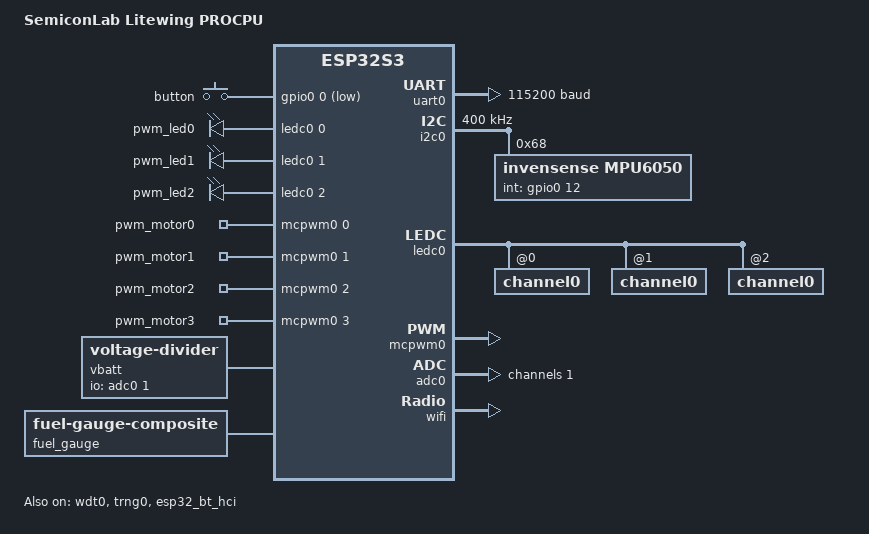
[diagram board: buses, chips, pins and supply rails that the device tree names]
/*
 * Copyright (c) 2026 Sahaj Sarup
 *
 * SPDX-License-Identifier: Apache-2.0
 */
/dts-v1/;

#include <zephyr/dt-bindings/input/input-event-codes.h>
#include <zephyr/dt-bindings/pwm/pwm.h>
#include <espressif/esp32s3/esp32s3.dtsi>
#include <espressif/partitions_0x0_amp_8M.dtsi>
#include <zephyr/dt-bindings/battery/battery.h>
#include "litewing-pinctrl.dtsi"

/ {
	model = "SemiconLab Litewing PROCPU";
	compatible = "espressif,esp32s3";

	aliases {
		fuel-gauge0 = &fuel_gauge;
		i2c-0 = &i2c0;
		pwm-led0 = &pwm_led0;
		pwm-led1 = &pwm_led1;
		pwm-led2 = &pwm_led2;
		motor-pwm = &mcpwm0;
		watchdog0 = &wdt0;
		uart-0 = &uart0;
		sw0 = &button;
		accel0 = &mpu6050;
	};

	chosen {
		zephyr,sram = &sram1;
		zephyr,console = &uart0;
		zephyr,shell-uart = &uart0;
		zephyr,flash = &flash0;
		zephyr,code-partition = &slot0_partition;
		zephyr,bt-hci = &esp32_bt_hci;
	};

	keys: keys {
		compatible = "gpio-keys";
		debounce-interval-ms = <10>;

		button: button {
			gpios = <&gpio0 0 (GPIO_ACTIVE_LOW | GPIO_PULL_UP)>;
			zephyr,code = <INPUT_KEY_0>;
		};
	};

	pwmleds {
		compatible = "pwm-leds";

		pwm_led0: pwm_led0 {
			pwms = <&ledc0 0 PWM_HZ(1000) PWM_POLARITY_NORMAL>;
		};

		pwm_led1: pwm_led1 {
			pwms = <&ledc0 1 PWM_HZ(1000) PWM_POLARITY_NORMAL>;
		};

		pwm_led2: pwm_led2 {
			pwms = <&ledc0 2 PWM_HZ(1000) PWM_POLARITY_NORMAL>;
		};
	};

	pwmmotors {
		compatible = "pwm-leds";

		pwm_motor0: pwm_motor0 {
			pwms = <&mcpwm0 0 PWM_HZ(25000) PWM_POLARITY_NORMAL>;
		};

		pwm_motor1: pwm_motor1 {
			pwms = <&mcpwm0 1 PWM_HZ(25000) PWM_POLARITY_NORMAL>;
		};

		pwm_motor2: pwm_motor2 {
			pwms = <&mcpwm0 2 PWM_HZ(25000) PWM_POLARITY_NORMAL>;
		};

		pwm_motor3: pwm_motor3 {
			pwms = <&mcpwm0 3 PWM_HZ(25000) PWM_POLARITY_NORMAL>;
		};
	};

	vbatt: vbatt {
		compatible = "voltage-divider";
		io-channels = <&adc0 1>;
		output-ohms = <100000>;
		full-ohms = <(100000 + 100000)>;
		skip-calibration;
	};

	fuel_gauge: fuel_gauge {
		compatible = "zephyr,fuel-gauge-composite";
		status = "okay";
		source-primary = <&vbatt>;
		device-chemistry = "lithium-ion-polymer";
		ocv-capacity-table-0 = <BATTERY_OCV_CURVE_LITHIUM_ION_POLYMER_DEFAULT>;
		charge-full-design-microamp-hours = <1000000>;
	};
};

&flash0 {
	reg = <0x0 DT_SIZE_M(8)>;
	ranges = <0x0 0x0 DT_SIZE_M(8)>;
};

&uart0 {
	status = "okay";
	current-speed = <115200>;
	pinctrl-0 = <&uart0_default>;
	pinctrl-names = "default";
};

&gpio0 {
	status = "okay";
};

&gpio1 {
	status = "okay";
};

&i2c0 {
	clock-frequency = <I2C_BITRATE_FAST>;
	pinctrl-0 = <&i2c0_default>;
	pinctrl-names = "default";
	#address-cells = <1>;
	#size-cells = <0>;
	status = "okay";

	mpu6050: mpu6050@68 {
		compatible = "invensense,mpu6050";
		reg = <0x68>;
		int-gpios = <&gpio0 12 GPIO_ACTIVE_HIGH>;
		status = "okay";
	};
};

&ledc0 {
	status = "okay";
	pinctrl-0 = <&ledc0_default>;
	pinctrl-names = "default";
	#address-cells = <1>;
	#size-cells = <0>;

	channel0@0 {
		reg = <0x0>;
		timer = <0>;
	};

	channel0@1 {
		reg = <0x1>;
		timer = <0>;
	};

	channel0@2 {
		reg = <0x2>;
		timer = <0>;
	};
};

&mcpwm0 {
	status = "okay";
	pinctrl-0 = <&mcpwm0_default>;
	pinctrl-names = "default";
	prescale = <0>;
	prescale-timer0 = <0>;
	prescale-timer1 = <0>;
};

&adc0 {
	status = "okay";
	#address-cells = <1>;
	#size-cells = <0>;

	channel@1 {
		reg = <1>;
		zephyr,reference = "ADC_REF_INTERNAL";
		zephyr,gain = "ADC_GAIN_1_4";
		zephyr,acquisition-time = <ADC_ACQ_TIME_DEFAULT>;
		zephyr,resolution = <12>;
	};
};

&wdt0 {
	status = "okay";
};

&trng0 {
	status = "okay";
};

&esp32_bt_hci {
	status = "okay";
};

&wifi {
	status = "okay";
};
